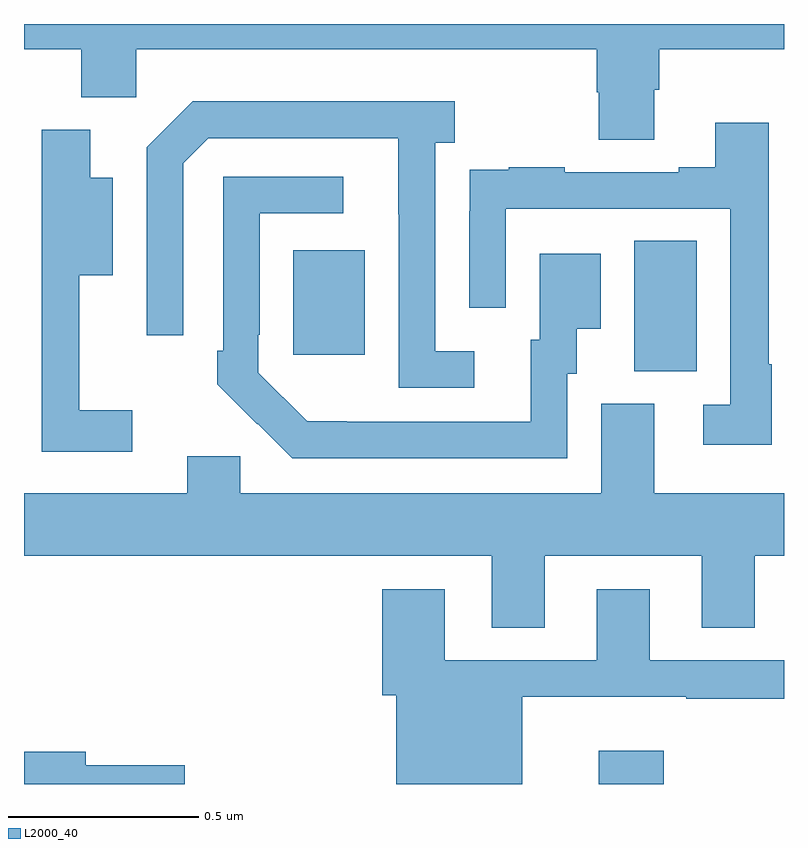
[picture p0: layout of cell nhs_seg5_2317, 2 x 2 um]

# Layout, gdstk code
import gdstk
lib = gdstk.Library(unit=1e-6, precision=1e-09)
def R(c, l, rs):  # rectangles x0, y0, x1, y1
    for r in rs: c.add(gdstk.rectangle(r[:2], r[2:], *l))
def P(c, l, *ps):  # polygons
    for p in ps: c.add(gdstk.Polygon(p, *l))
L2000_40 = (2000, 40)

nhs_seg5_2317 = lib.new_cell('nhs_seg5_2317')
R(nhs_seg5_2317, L2000_40, [(143.513,882.799,143.684,882.886), (143.606,883.885,143.77,884.228), (142.709,883.929,142.897,884.203)])
P(nhs_seg5_2317, L2000_40, [(143.659,884.626),(143.672,884.626),(143.672,884.732),(144,884.732),(144,884.799),(142,884.799),(142,884.732),(142.15,884.732),(142.15,884.606),(142.296,884.606),(142.296,884.732),(143.507,884.732),(143.507,884.619),(143.512,884.619),(143.512,884.494),(143.659,884.494)],
  [(143.185,883.938),(143.082,883.938),(143.082,884.486),(143.134,884.486),(143.134,884.596),(142.444,884.596),(142.323,884.475),(142.323,883.98),(142.419,883.98),(142.419,884.433),(142.485,884.499),(142.985,884.499),(142.985,884.299),(142.986,884.299),(142.986,883.842),(143.185,883.842)],
  [(143.968,883.904),(143.96,883.904),(143.96,884.539),(143.819,884.539),(143.819,884.422),(143.723,884.422),(143.723,884.409),(143.423,884.409),(143.423,884.422),(143.275,884.422),(143.275,884.415),(143.173,884.415),(143.173,884.306),(143.172,884.306),(143.172,884.052),(143.268,884.052),(143.268,884.313),(143.859,884.313),(143.859,883.797),(143.787,883.797),(143.787,883.692),(143.968,883.692)],
  [(142.285,883.783),(142.145,883.783),(142.145,884.138),(142.234,884.138),(142.234,884.395),(142.174,884.395),(142.174,884.521),(142.047,884.521),(142.047,883.674),(142.285,883.674)],
  [(143.43,883.878),(143.455,883.878),(143.455,883.997),(143.518,883.997),(143.518,884.194),(143.357,884.194),(143.357,883.968),(143.333,883.968),(143.333,883.752),(142.849,883.752),(142.849,883.753),(142.746,883.753),(142.617,883.881),(142.617,883.981),(142.62,883.981),(142.62,884.301),(142.84,884.301),(142.84,884.397),(142.524,884.397),(142.524,883.939),(142.509,883.939),(142.509,883.851),(142.614,883.746),(142.615,883.747),(142.706,883.656),(143.43,883.656)],
  [(143.371,883.4),(143.783,883.4),(143.783,883.21),(143.923,883.21),(143.923,883.4),(144,883.4),(144,883.564),(143.659,883.564),(143.659,883.8),(143.519,883.8),(143.519,883.564),(142.569,883.564),(142.569,883.662),(142.43,883.662),(142.43,883.564),(142,883.564),(142,883.4),(143.231,883.4),(143.231,883.21),(143.371,883.21)],
  [(143.311,883.028),(143.743,883.028),(143.743,883.024),(144,883.024),(144,883.125),(143.647,883.125),(143.647,883.312),(143.507,883.312),(143.507,883.125),(143.107,883.125),(143.107,883.312),(142.943,883.312),(142.943,883.032),(142.979,883.032),(142.979,882.799),(143.311,882.799)],
  [(142.423,882.848),(142.162,882.848),(142.162,882.884),(142,882.884),(142,882.799),(142.423,882.799)])

lib.write_gds('nhs_seg5_2317.gds')
